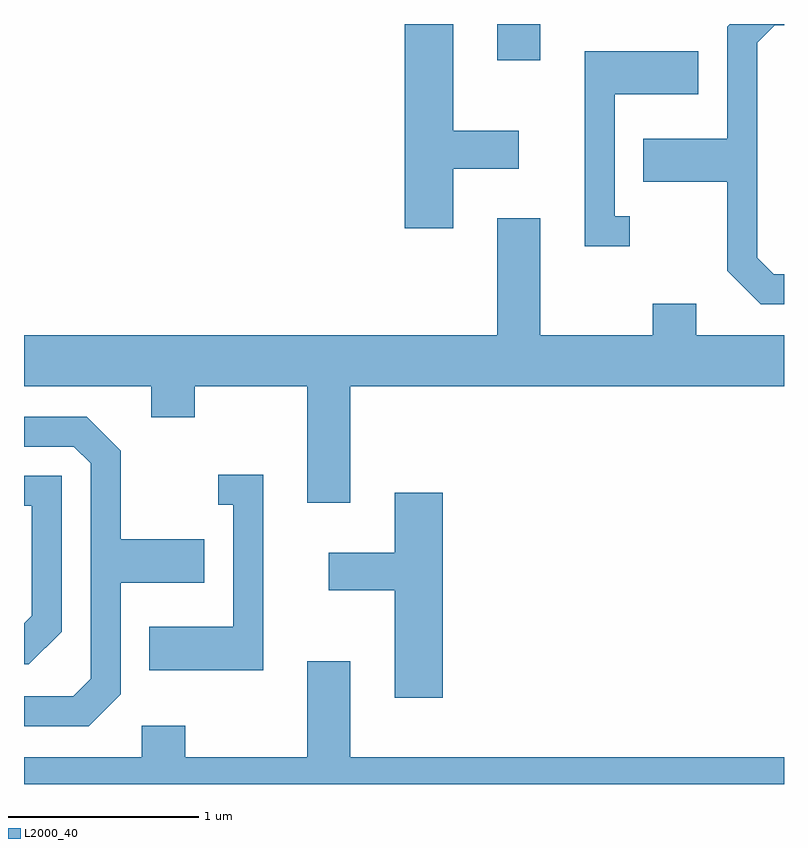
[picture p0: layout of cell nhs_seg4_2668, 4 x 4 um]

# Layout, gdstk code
import gdstk
lib = gdstk.Library(unit=1e-6, precision=1e-09)
def R(c, l, rs):  # rectangles x0, y0, x1, y1
    for r in rs: c.add(gdstk.rectangle(r[:2], r[2:], *l))
def P(c, l, *ps):  # polygons
    for p in ps: c.add(gdstk.Polygon(p, *l))
L2000_40 = (2000, 40)

nhs_seg4_2668 = lib.new_cell('nhs_seg4_2668')
R(nhs_seg4_2668, L2000_40, [(266.101,1289.791,266.329,1289.982)])
P(nhs_seg4_2668, L2000_40, [(265.869,1289.221),(266.214,1289.221),(266.214,1289.419),(265.869,1289.419),(265.869,1289.982),(265.616,1289.982),(265.616,1288.906),(265.869,1288.906)],
  [(267.611,1288.664),(267.557,1288.664),(267.469,1288.752),(267.469,1289.884),(267.562,1289.976),(267.611,1289.976),(267.611,1289.982),(267.326,1289.982),(267.311,1289.967),(267.311,1289.379),(266.871,1289.379),(266.871,1289.151),(267.311,1289.151),(267.311,1288.684),(267.489,1288.506),(267.611,1288.506)],
  [(266.798,1288.969),(266.719,1288.969),(266.719,1289.611),(267.159,1289.611),(267.159,1289.839),(266.561,1289.839),(266.561,1288.811),(266.798,1288.811)],
  [(265.329,1288.076),(267.611,1288.076),(267.611,1288.344),(267.149,1288.344),(267.149,1288.509),(266.921,1288.509),(266.921,1288.344),(266.329,1288.344),(266.329,1288.959),(266.101,1288.959),(266.101,1288.344),(263.611,1288.344),(263.611,1288.076),(264.281,1288.076),(264.281,1287.911),(264.509,1287.911),(264.509,1288.076),(265.101,1288.076),(265.101,1287.461),(265.329,1287.461)],
  [(264.119,1286.454),(264.119,1287.041),(264.559,1287.041),(264.559,1287.269),(264.119,1287.269),(264.119,1287.737),(263.942,1287.914),(263.611,1287.914),(263.611,1287.756),(263.874,1287.756),(263.961,1287.669),(263.961,1286.537),(263.869,1286.444),(263.611,1286.444),(263.611,1286.286),(263.952,1286.286)],
  [(264.869,1287.609),(264.633,1287.609),(264.633,1287.451),(264.711,1287.451),(264.711,1286.809),(264.271,1286.809),(264.271,1286.581),(264.869,1286.581)],
  [(263.809,1286.784),(263.809,1287.604),(263.611,1287.604),(263.611,1287.446),(263.651,1287.446),(263.651,1286.867),(263.611,1286.827),(263.611,1286.611),(263.637,1286.611)],
  [(265.814,1287.514),(265.561,1287.514),(265.561,1287.199),(265.216,1287.199),(265.216,1287.001),(265.561,1287.001),(265.561,1286.436),(265.814,1286.436)],
  [(267.611,1286.124),(265.329,1286.124),(265.329,1286.629),(265.101,1286.629),(265.101,1286.124),(264.459,1286.124),(264.459,1286.289),(264.231,1286.289),(264.231,1286.124),(263.611,1286.124),(263.611,1285.982),(267.611,1285.982)])

lib.write_gds('nhs_seg4_2668.gds')
